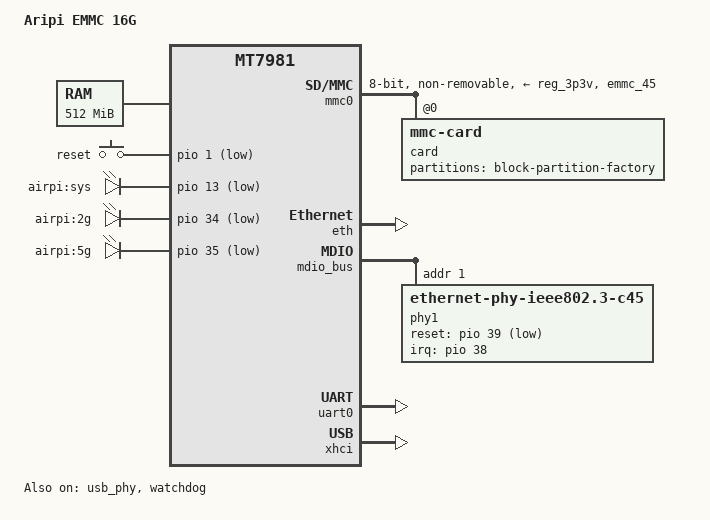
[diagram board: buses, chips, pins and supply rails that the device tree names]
// SPDX-License-Identifier: GPL-2.0-or-later OR MIT
/*
 * Copyright (C) 2023 Tianling Shen <cnsztl@immortalwrt.org>
 */

/dts-v1/;
#include <dt-bindings/gpio/gpio.h>
#include <dt-bindings/input/input.h>
#include <dt-bindings/leds/common.h>

#include "mt7981.dtsi"

/ {
	model = "Aripi EMMC 16G";
	compatible = "Airpi,emmc-16g", "mediatek,mt7981";

	aliases {
		led-boot = &sys_led;
                led-failsafe = &sys_led;
                led-running = &sys_led;
                led-upgrade = &sys_led;
		serial0 = &uart0;
	};

	chosen: chosen {
		bootargs = "root=PARTLABEL=rootfs rootwait rootfstype=squashfs,f2fs";
		stdout-path = "serial0:115200n8";
	};

	memory {
		reg = <0 0x40000000 0 0x20000000>;
	};

	gpio-keys {
		compatible = "gpio-keys";

		button-reset {
			label = "reset";
			linux,code = <KEY_RESTART>;
			gpios = <&pio 1 GPIO_ACTIVE_LOW>;
		};
	};

	gpio-leds {
		compatible = "gpio-leds";

		sys_led:led1{
                        label = "airpi:sys";
                        gpios = <&pio 13 GPIO_ACTIVE_LOW>;
                };

		wifi2g:led2{
                        label = "airpi:2g";
                        gpios = <&pio 34 GPIO_ACTIVE_LOW>;
                };

                wifi5g:led3{
                        label = "airpi:5g";
                        gpios = <&pio 35 GPIO_ACTIVE_LOW>;
                };
	};
};

&mmc0 {
	bus-width = <8>;
	cap-mmc-highspeed;
	max-frequency = <26000000>;
	non-removable;
	pinctrl-names = "default", "state_uhs";
	pinctrl-0 = <&mmc0_pins_default>;
	pinctrl-1 = <&mmc0_pins_uhs>;
	vmmc-supply = <&reg_3p3v>;
	status = "okay";

	card@0 {
		compatible = "mmc-card";
		reg = <0>;

		block {
			compatible = "block-device";

			partitions {
				block-partition-factory {
					partname = "factory";

					nvmem-layout {
						compatible = "fixed-layout";
						#address-cells = <1>;
						#size-cells = <1>;

						eeprom_factory_0: eeprom@0 {
							reg = <0x0 0x1000>;
						};

						macaddr_factory_24: macaddr@24 {
							compatible = "mac-base";
							reg = <0x24 0x6>;
							#nvmem-cell-cells = <1>;
						};

						macaddr_factory_2a: macaddr@2a {
                                                        compatible = "mac-base";
                                                        reg = <0x2a 0x6>;
                                                        #nvmem-cell-cells = <1>;
                                                };
					};
				};
			};
		};
	};
};

&eth {
	status = "okay";

	gmac0: mac@0 {
		compatible = "mediatek,eth-mac";
		reg = <0>;
		phy-mode = "2500base-x";
		phy-handle = <&phy1>;
		nvmem-cells = <&macaddr_factory_24 0>;
                nvmem-cell-names = "mac-address";
	};

	gmac1: mac@1 {
		compatible = "mediatek,eth-mac";
		reg = <1>;
		phy-mode = "gmii";
		phy-handle = <&int_gbe_phy>;

		nvmem-cells = <&macaddr_factory_2a 0>;
                nvmem-cell-names = "mac-address";
	};
};

&mdio_bus {
        phy1: ethernet-phy@1 {
                compatible = "ethernet-phy-ieee802.3-c45";
                reg = <1>;
                interrupts = <38 IRQ_TYPE_LEVEL_LOW>;
                interrupt-parent = <&pio>;
                reset-assert-us = <100000>;
                reset-deassert-us = <100000>;
                reset-gpios = <&pio 39 GPIO_ACTIVE_LOW>;
                realtek,aldps-enable;
        };
};

&pio {
	mmc0_pins_default: mmc0-pins-default {
		mux {
			function = "flash";
			groups = "emmc_45";
		};
	};

	mmc0_pins_uhs: mmc0-pins-uhs {
		mux {
			function = "flash";
			groups = "emmc_45";
		};
	};
};

&uart0 {
	status = "okay";
};

&usb_phy {
	status = "okay";
};

&watchdog {
	status = "okay";
};

&xhci {
	status = "okay";
};
